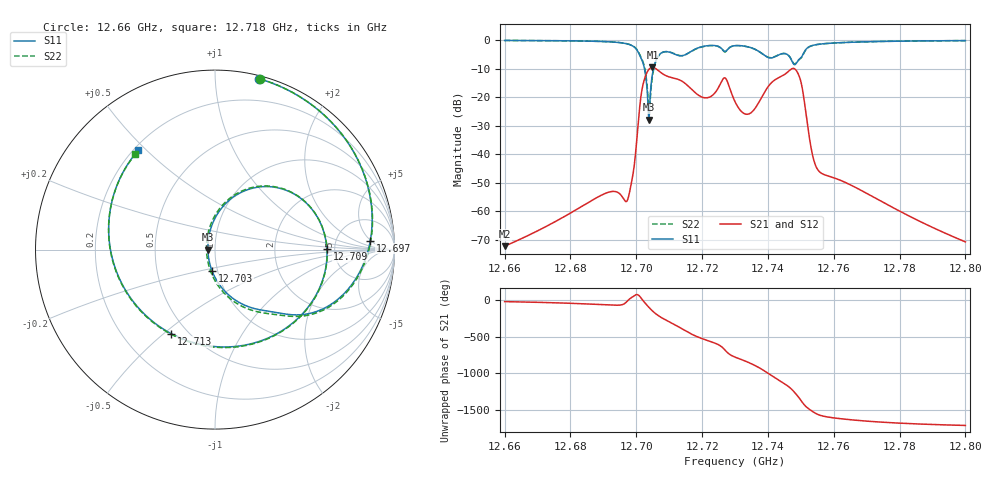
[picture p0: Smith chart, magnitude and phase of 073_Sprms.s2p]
! TOUCHSTONE file generated by CST MICROWAVE STUDIO
! Date and time: Wed Jul 31 14:23:39 2024
! Project name: WaveGuide_BPF-Ver4.1_U-shape_Ku_T3_C4_CWA_2.cst
! Parameters = {cavity_h=16; cavity_l0=10; cavity_l1=15.1789; cavity_l2=16.8649; cavity_l3=17.1052; cavity_l4=17.3006; cavity_l5=17.0949; cavity_l6=17.6414; cavity_r=2.5; cavity_screw_l=0.5; cavity_screw_r=1.5; cavity_w=8; iris_h00=0; iris_h01=8.8176; iris_h112=0; iris_h12=5.5908; iris_h211=3.6575; 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
! Header version: 2018
! Port assignment regex: !\s*Touchstone port\s*([0-9]+)\s*=\s*(CST MWS port|CST DS port)\s*([0-9]+|Zmin|Zmax)\s*\(\"(.*)\"\)(\s*mode\s*([0-9]+))?.*
! Touchstone port assignment:
! Touchstone port 1 = CST MWS port 1 ("")
! Touchstone port 2 = CST MWS port 2 ("")
# GHz S RI R 50
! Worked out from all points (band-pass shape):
!   5001 points, 12.66 GHz to 12.8 GHz, reference 50 ohm
!   highest |S21| = -9.60 dB at 12.705 GHz (marker M1); lowest = -72.3 dB at 12.66 GHz (marker M2)
!   |S21| within 3 dB of the highest: 12.70281 GHz to 12.7092 GHz (6.391 MHz wide, 0.0503 % of centre); 12.74433 GHz to 12.74947 GHz (5.144 MHz wide, 0.0404 % of centre)
!   lowest |S11| = -28.0 dB at 12.704 GHz (marker M3), VSWR 1.08, Z = 46.2 - j0.0233 ohm
!   |S11| at or under -10 dB: 12.70249 GHz to 12.70525 GHz (2.76 MHz wide, 0.0217 % of centre)
!   |S22| runs from -26.4 to -0.1 dB; largest |S21 - S12| = 1e-09
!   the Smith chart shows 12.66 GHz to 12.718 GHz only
!   S11 on the Smith chart (normalised r, x): 12.66 GHz: 0.02, +1.29; 12.697 GHz: 12, +5; 12.703 GHz: 0.94, -0.23; 12.709 GHz: 4.31, +0.04; 12.713 GHz: 0.41, -0.53; 12.718 GHz: 0.22, +0.47
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12.66  0.246 0.952  0.000229 -7.75e-05  0.000229 -7.75e-05  0.2519 0.9504
12.68335  0.6397 0.7186  0.000809 -0.000883  0.000809 -0.000883  0.6453 0.7137
12.69685  0.8654 0.0502  0.00125 -0.000764  0.00125 -0.000764  0.8673 0.0451
12.69906  0.7472 -0.2139  0.00284 0.00365  0.00284 0.00365  0.7518 -0.2163
12.70147  0.3281 -0.3483  0.0922 0.055  0.0922 0.055  0.339 -0.3622
12.70334  -0.0153 -0.1212  0.0824 -0.2635  0.0824 -0.2635  -0.0131 -0.1477
12.70382  -0.0399 -0.000251  -0.0328 -0.303  -0.0328 -0.303  -0.0458 -0.0291
12.70491  0.0493 0.2458  -0.2743 -0.1853  -0.2743 -0.1853  0.025 0.2277
12.70668  0.4118 0.3243  -0.2526 0.1468  -0.2526 0.1468  0.3916 0.3346
12.70864  0.6232 0.00257  -0.0316 0.241  -0.0316 0.241  0.6228 0.0215
12.71348  -0.2429 -0.4689  0.182 -0.0712  0.182 -0.0712  -0.2126 -0.4874
12.71804  -0.4284 0.5527  -0.0762 -0.0893  -0.0762 -0.0893  -0.4446 0.531
12.72689  0.5211 0.3533  0.164 0.1428  0.164 0.1428  0.5145 0.3463
12.73  0.7771 0.1808  0.0429 -0.071  0.0429 -0.071  0.7753 0.1745
12.73624  0.2226 -0.6436  -0.0651 -0.00222  -0.0651 -0.00222  0.2046 -0.6482
12.73988  -0.4903 -0.0897  0.014 0.1466  0.014 0.1466  -0.4975 -0.0813
12.74299  0.051 0.537  0.2124 -0.0265  0.2124 -0.0265  0.0452 0.5403
12.74812  0.369 0.009  -0.3122 0.0161  -0.3122 0.0161  0.3787 0.00508
12.75335  0.6856 -0.4076  0.00237 -0.0107  0.00237 -0.0107  0.6823 -0.4092
12.76128  -0.0238 -0.8944  -0.0036 -9.6e-05  -0.0036 -9.6e-05  -0.0329 -0.8942
12.77668  -0.8194 -0.48  -0.000715 0.00104  -0.000715 0.00104  -0.8239 -0.4728
12.8  -0.9672 0.1382  2.52e-05 0.000287  2.52e-05 0.000287  -0.9664 0.1445
